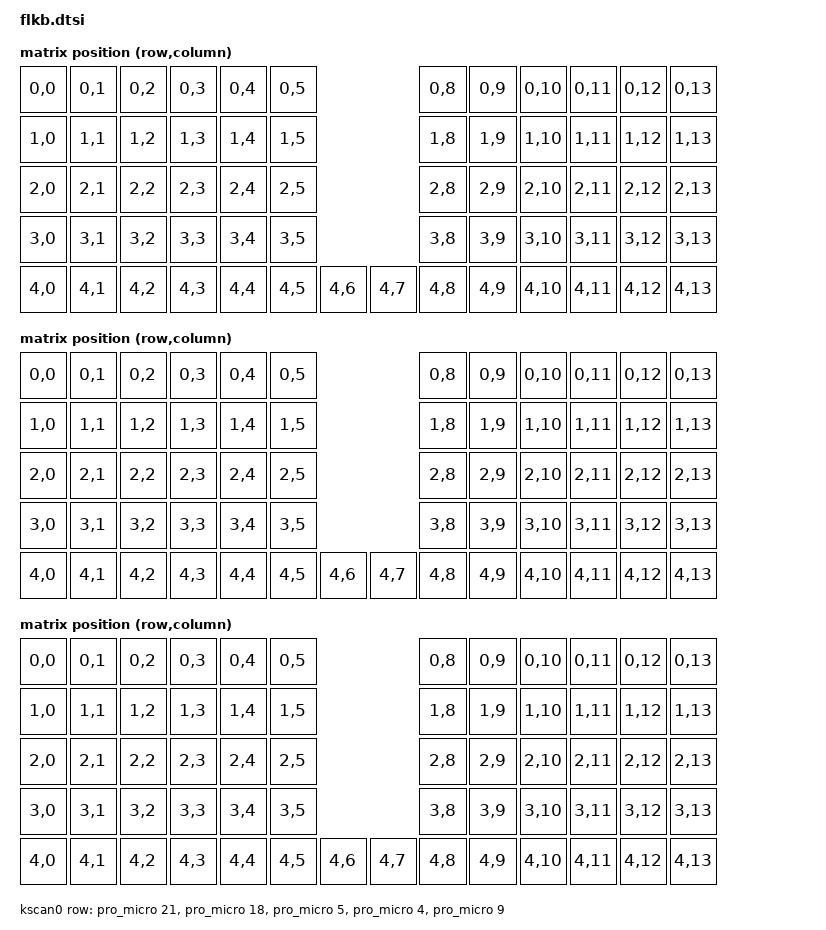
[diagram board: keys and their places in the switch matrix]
/*
 * Copyright (c) 2020 The ZMK Contributors
 *
 * SPDX-License-Identifier: MIT
 */

#include <dt-bindings/zmk/matrix_transform.h>

/ {
	chosen {
		zmk,kscan = &kscan0;
		zmk,matrix_transform = &default_transform;
		zmk,led-capslock = &led_capslock;
   		zmk,led-numlock = &led_numlock;
		zmk,led-scrolllock = &led_scrolllock;
	};

	default_transform: keymap_transform_0 {
		compatible = "zmk,matrix-transform";
		columns = <14>;
		rows = <5>;
		map = <
RC(0,0) RC(0,1) RC(0,2) RC(0,3) RC(0,4) RC(0,5)                   RC(0,8) RC(0,9) RC(0,10) RC(0,11) RC(0,12) RC(0,13)
RC(1,0) RC(1,1) RC(1,2) RC(1,3) RC(1,4) RC(1,5)                   RC(1,8) RC(1,9) RC(1,10) RC(1,11) RC(1,12) RC(1,13)
RC(2,0) RC(2,1) RC(2,2) RC(2,3) RC(2,4) RC(2,5)                   RC(2,8) RC(2,9) RC(2,10) RC(2,11) RC(2,12) RC(2,13)
RC(3,0) RC(3,1) RC(3,2) RC(3,3) RC(3,4) RC(3,5)                   RC(3,8) RC(3,9) RC(3,10) RC(3,11) RC(3,12) RC(3,13)
RC(4,0) RC(4,1) RC(4,2) RC(4,3) RC(4,4) RC(4,5) RC(4,6)   RC(4,7) RC(4,8) RC(4,9) RC(4,10) RC(4,11) RC(4,12) RC(4,13)
		>;
	};

	crkbd_transform: keymap_transform_1 {
		compatible = "zmk,matrix-transform";
		columns = <14>;
		rows = <5>;
		map = <
RC(0,0) RC(0,1) RC(0,2) RC(0,3) RC(0,4) RC(0,5)                   RC(0,8) RC(0,9) RC(0,10) RC(0,11) RC(0,12) RC(0,13)
RC(1,0) RC(1,1) RC(1,2) RC(1,3) RC(1,4) RC(1,5)                   RC(1,8) RC(1,9) RC(1,10) RC(1,11) RC(1,12) RC(1,13)
RC(2,0) RC(2,1) RC(2,2) RC(2,3) RC(2,4) RC(2,5)                   RC(2,8) RC(2,9) RC(2,10) RC(2,11) RC(2,12) RC(2,13)
RC(3,0) RC(3,1) RC(3,2) RC(3,3) RC(3,4) RC(3,5)                   RC(3,8) RC(3,9) RC(3,10) RC(3,11) RC(3,12) RC(3,13)
RC(4,0) RC(4,1) RC(4,2) RC(4,3) RC(4,4) RC(4,5) RC(4,6)   RC(4,7) RC(4,8) RC(4,9) RC(4,10) RC(4,11) RC(4,12) RC(4,13)
		>;
	};

	five_column_transform: keymap_transform_2 {
		compatible = "zmk,matrix-transform";
		columns = <14>;
		rows = <5>;
		map = <
RC(0,0) RC(0,1) RC(0,2) RC(0,3) RC(0,4) RC(0,5)                   RC(0,8) RC(0,9) RC(0,10) RC(0,11) RC(0,12) RC(0,13)
RC(1,0) RC(1,1) RC(1,2) RC(1,3) RC(1,4) RC(1,5)                   RC(1,8) RC(1,9) RC(1,10) RC(1,11) RC(1,12) RC(1,13)
RC(2,0) RC(2,1) RC(2,2) RC(2,3) RC(2,4) RC(2,5)                   RC(2,8) RC(2,9) RC(2,10) RC(2,11) RC(2,12) RC(2,13)
RC(3,0) RC(3,1) RC(3,2) RC(3,3) RC(3,4) RC(3,5)                   RC(3,8) RC(3,9) RC(3,10) RC(3,11) RC(3,12) RC(3,13)
RC(4,0) RC(4,1) RC(4,2) RC(4,3) RC(4,4) RC(4,5) RC(4,6)   RC(4,7) RC(4,8) RC(4,9) RC(4,10) RC(4,11) RC(4,12) RC(4,13)
		>;
	};

	kscan0: kscan {
		compatible = "zmk,kscan-gpio-matrix";
		label = "KSCAN";

		diode-direction = "row2col";
		row-gpios
			= <&pro_micro 21 GPIO_ACTIVE_HIGH>
			, <&pro_micro 18 GPIO_ACTIVE_HIGH>
			, <&pro_micro 5  GPIO_ACTIVE_HIGH>
			, <&pro_micro 4  GPIO_ACTIVE_HIGH>
			, <&pro_micro 9  GPIO_ACTIVE_HIGH>
			;
		
	};

	led_indicators {
        compatible = "gpio-leds";
        label = "LED indicators";
        led_capslock: led_capslock {
            gpios = <&gpio1 1 GPIO_ACTIVE_HIGH>;
            label = "Caps lock LED";
        };
        led_numlock: led_numlock {
            gpios = <&gpio1 3 GPIO_ACTIVE_HIGH>;
            label = "Num lock LED";
        };
		led_scrolllock: led_scrolllock{
			gpios = <&gpio1 4 GPIO_ACTIVE_HIGH>;
			label = "Scroll lock LED";
		};
    };
};
